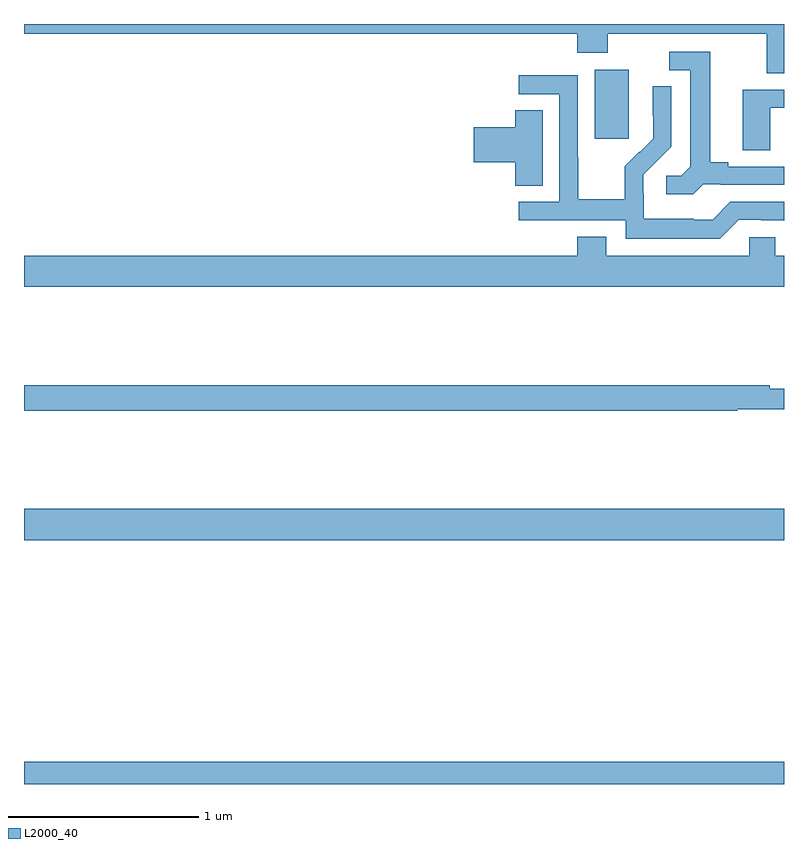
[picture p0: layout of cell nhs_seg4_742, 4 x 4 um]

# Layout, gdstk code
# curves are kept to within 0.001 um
import gdstk
lib = gdstk.Library(unit=1e-6, precision=1e-09)
def R(c, l, rs):  # rectangles x0, y0, x1, y1
    for r in rs: c.add(gdstk.rectangle(r[:2], r[2:], *l))
def P(c, l, *ps):  # polygons
    for p in ps: c.add(gdstk.Polygon(p, *l))
L2000_40 = (2000, 40)

nhs_seg4_742 = lib.new_cell('nhs_seg4_742')
R(nhs_seg4_742, L2000_40, [(149,764.9,153,765.016), (149,766.184,153,766.348), (152.003,768.297,152.182,768.658)])
P(nhs_seg4_742, L2000_40, [(153,768.9),(149,768.9),(149,768.848),(151.913,768.848),(151.913,768.749),(152.073,768.749),(152.073,768.848),(152.909,768.848),(152.909,768.64),(153,768.64)],
  [(152.574,768.057),(152.668,768.057),(152.668,768.054),(153,768.054),(153,768.15),(152.707,768.15),(152.707,768.173),(152.611,768.173),(152.611,768.753),(152.397,768.753),(152.397,768.657),(152.507,768.657),(152.507,768.149),(152.46,768.102),(152.379,768.102),(152.379,768.005),(152.522,768.005)],
  [(152.763,767.871),(152.879,767.871),(152.879,767.868),(152.997,767.868),(153,767.865),(153,767.964),(152.718,767.964),(152.625,767.871),(152.525,767.871),(152.525,767.875),(152.262,767.875),(152.262,768.009),(152.26,768.009),(152.26,768.106),(152.406,768.254),(152.406,768.572),(152.31,768.572),(152.31,768.418),(152.312,768.418),(152.312,768.296),(152.241,768.225),(152.238,768.228),(152.161,768.151),(152.161,767.977),(151.917,767.977),(151.917,768.2),(151.914,768.2),(151.914,768.63),(151.605,768.63),(151.605,768.531),(151.818,768.531),(151.818,767.964),(151.605,767.964),(151.605,767.868),(152.166,767.868),(152.166,767.771),(152.663,767.771)],
  [(152.928,768.459),(153,768.459),(153,768.555),(152.783,768.555),(152.783,768.235),(152.928,768.235)],
  [(151.729,768.446),(151.586,768.446),(151.586,768.356),(151.368,768.356),(151.368,768.173),(151.586,768.173),(151.586,768.049),(151.729,768.049)],
  [(153,767.68),(152.955,767.68),(152.955,767.778),(152.817,767.778),(152.817,767.68),(152.065,767.68),(152.065,767.779),(151.913,767.779),(151.913,767.68),(149,767.68),(149,767.516),(153,767.516)],
  [(152.755,766.872),(153,766.872),(153,766.981),(152.924,766.981),(152.924,767),(149,767),(149,766.864),(152.755,766.864)])

lib.write_gds('nhs_seg4_742.gds')
